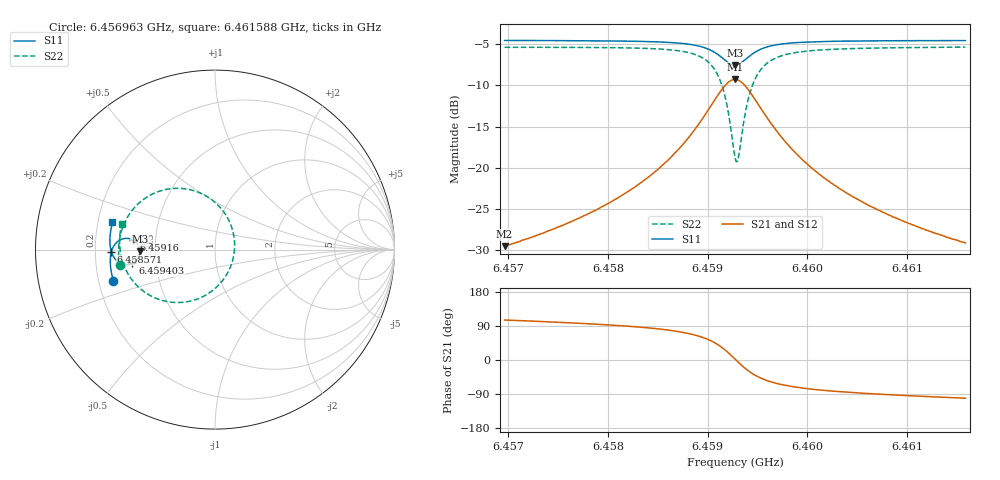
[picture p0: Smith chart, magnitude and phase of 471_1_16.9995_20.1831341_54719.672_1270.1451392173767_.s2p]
#  HZ  S  RI  R  50.00
! Rohde & Schwarz Vector Network Analyzer
! Rohde-Schwarz,ZNB20-2Port,1311601062101988,3.16
! Created: UTC 3/20/2024, 11:13:10 PM
! freq[Hz]  re:S11  im:S11  re:S21  im:S21  re:S12  im:S12  re:S22  im:S22
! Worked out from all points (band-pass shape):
!   401 points, 6.456963 GHz to 6.461588 GHz, reference 50 ohm
!   highest |S21| = -9.28 dB at 6.459276 GHz (marker M1); lowest = -29.5 dB at 6.456963 GHz (marker M2)
!   |S21| within 3 dB of the highest: 6.459045 GHz to 6.459507 GHz (462.4 kHz wide, 0.00716 % of centre)
!   lowest |S11| = -7.6 dB at 6.459276 GHz (marker M3), VSWR 2.44, Z = 20.5 - j0.504 ohm
!   |S11| at or under -10 dB: nowhere
!   |S22| runs from -19.2 to -5.4 dB; largest |S21 - S12| = 0.013
!   S11 on the Smith chart (normalised r, x): 6.456963 GHz: 0.26, -0.14; 6.458571 GHz: 0.27, -0.01; 6.45916 GHz: 0.37, +0.05; 6.459403 GHz: 0.37, -0.07; 6.461588 GHz: 0.26, +0.12
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6.4569634e9  -0.5664 -0.1732  -0.00893 0.0322  -0.00718 0.0322  -0.5314 -0.086
6.4577381e9  -0.5806 -0.1055  -0.00582 0.0501  -0.00312 0.0495  -0.5372 0.00412
6.4581659e9  -0.5837 -0.0628  6.82e-05 0.0695  0.00342 0.0681  -0.5292 0.0714
6.4585128e9  -0.5798 -0.0215  0.0138 0.0981  0.0179 0.0955  -0.5042 0.1492
6.4585706e9  -0.5781 -0.0136  0.0182 0.1049  0.0225 0.102  -0.496 0.1656
6.4587787e9  -0.5652 0.0186  0.0455 0.1373  0.0497 0.1324  -0.4448 0.2383
6.458929e9  -0.5426 0.0448  0.0908 0.1677  0.0937 0.1609  -0.3619 0.3026
6.4590677e9  -0.4992 0.0623  0.1774 0.1842  0.1781 0.1768  -0.2037 0.3415
6.4591602e9  -0.4548 0.0524  0.2666 0.1533  0.2668 0.1474  -0.038 0.2917
6.4592065e9  -0.4339 0.0334  0.31 0.1107  0.3113 0.1054  0.0445 0.2158
6.4592759e9  -0.4191 -0.0102  0.3433 0.0144  0.3467 0.00747  0.1092 0.0373
6.4592874e9  -0.4196 -0.0182  0.3431 -0.00319  0.3468 -0.0109  0.109 0.0038
6.4593105e9  -0.423 -0.0337  0.3376 -0.0377  0.3413 -0.0467  0.0981 -0.0617
6.4593568e9  -0.4385 -0.0595  0.3092 -0.0974  0.3113 -0.1091  0.041 -0.1742
6.459403e9  -0.4604 -0.0758  0.2674 -0.1382  0.2667 -0.1513  -0.0435 -0.2489
6.4594955e9  -0.5035 -0.0825  0.1832 -0.1693  0.1771 -0.1807  -0.2111 -0.2949
6.4596459e9  -0.547 -0.0619  0.0958 -0.1557  0.0874 -0.1618  -0.378 -0.2459
6.4598077e9  -0.5685 -0.0344  0.0512 -0.1279  0.0436 -0.1307  -0.458 -0.1743
6.4600505e9  -0.5811 0.00121  0.0222 -0.0965  0.0164 -0.0972  -0.506 -0.0922
6.4603974e9  -0.5856 0.0423  0.00627 -0.0699  0.00221 -0.0695  -0.5273 -0.0133
6.4608252e9  -0.5836 0.0852  -0.00151 -0.0515  -0.00426 -0.0507  -0.5315 0.0549
6.4615883e9  -0.5712 0.1526  -0.00663 -0.0343  -0.0082 -0.0334  -0.5201 0.1446
